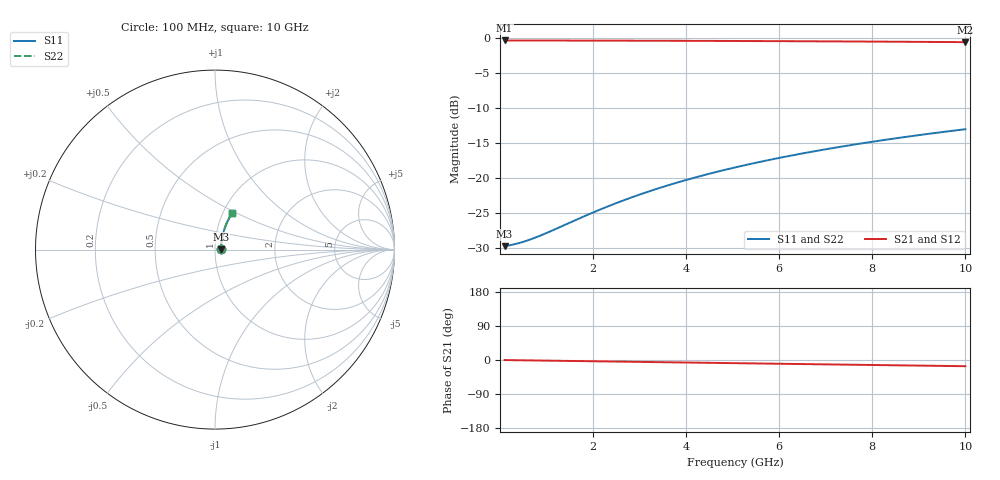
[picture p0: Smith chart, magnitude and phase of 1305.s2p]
# Hz S RI R 50.00
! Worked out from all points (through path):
!   100 points, 100 MHz to 10 GHz, reference 50 ohm
!   highest |S21| = -0.29 dB at 100 MHz (marker M1); lowest = -0.5 dB at 10 GHz (marker M2)
!   group delay of S21, straight-line fit = 4.55 ps
!   lowest |S11| = -29.8 dB at 100 MHz (marker M3), VSWR 1.07, Z = 53.4 + j0.234 ohm
!   |S11| at or under -10 dB: start of sweep to end of sweep
!   |S22| runs from -29.8 to -13.0 dB; largest |S21 - S12| = 0
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1e8  0.0325 0.00219  0.9675 -0.00281  0.9675 -0.00281  0.0325 0.00219
3e8  0.0329 0.00655  0.9671 -0.00842  0.9671 -0.00842  0.0329 0.00655
4e8  0.033 0.00873  0.967 -0.0112  0.967 -0.0112  0.033 0.00873
5e8  0.0332 0.0109  0.9668 -0.014  0.9668 -0.014  0.0332 0.0109
7e8  0.0335 0.0153  0.9665 -0.0196  0.9665 -0.0196  0.0335 0.0153
1e9  0.034 0.0218  0.9659 -0.028  0.9659 -0.028  0.034 0.0218
1.8e9  0.0358 0.0391  0.9641 -0.0503  0.9641 -0.0503  0.0358 0.0391
2.2e9  0.037 0.0478  0.9629 -0.0614  0.9629 -0.0614  0.037 0.0478
2.6e9  0.0383 0.0564  0.9615 -0.0725  0.9615 -0.0725  0.0383 0.0564
3e9  0.0398 0.0649  0.96 -0.0836  0.96 -0.0836  0.0398 0.0649
3.4e9  0.0415 0.0734  0.9582 -0.0946  0.9582 -0.0946  0.0415 0.0734
3.8e9  0.0434 0.0819  0.9563 -0.1055  0.9563 -0.1055  0.0434 0.0819
4.2e9  0.0455 0.0903  0.9541 -0.1164  0.9541 -0.1164  0.0455 0.0903
4.6e9  0.0478 0.0986  0.9518 -0.1272  0.9518 -0.1272  0.0478 0.0986
5.1e9  0.0508 0.1089  0.9486 -0.1407  0.9486 -0.1407  0.0508 0.1089
5.5e9  0.0535 0.1171  0.9459 -0.1513  0.9459 -0.1513  0.0535 0.1171
5.9e9  0.0563 0.1252  0.9429 -0.1619  0.9429 -0.1619  0.0563 0.1252
6.7e9  0.0626 0.1411  0.9365 -0.1829  0.9365 -0.1829  0.0626 0.1411
7.5e9  0.0695 0.1567  0.9294 -0.2035  0.9294 -0.2035  0.0695 0.1567
8.4e9  0.078 0.1737  0.9205 -0.2261  0.9205 -0.2261  0.078 0.1737
9.2e9  0.0863 0.1884  0.912 -0.2458  0.912 -0.2458  0.0863 0.1884
1e10  0.0951 0.2026  0.9028 -0.2651  0.9028 -0.2651  0.0951 0.2026
